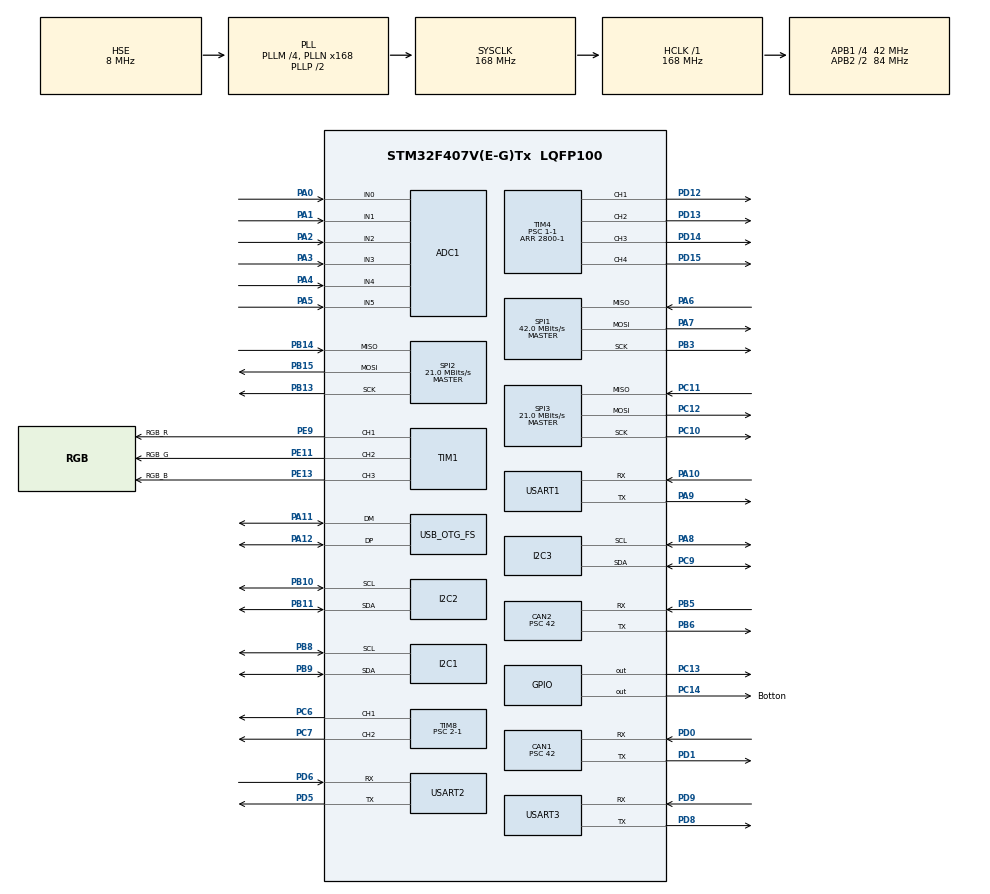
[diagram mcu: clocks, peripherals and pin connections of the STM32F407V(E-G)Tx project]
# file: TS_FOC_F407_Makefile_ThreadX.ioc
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ADC1.Channel-0\#ChannelRegularConversion=ADC_CHANNEL_0
ADC1.Channel-1\#ChannelRegularConversion=ADC_CHANNEL_1
ADC1.Channel-2\#ChannelRegularConversion=ADC_CHANNEL_2
ADC1.Channel-3\#ChannelRegularConversion=ADC_CHANNEL_3
ADC1.ContinuousConvMode=ENABLE
ADC1.DMAContinuousRequests=ENABLE
ADC1.InjNumberOfConversion=0
ADC1.NbrOfConversion=4
ADC1.NbrOfConversionFlag=1
ADC1.Rank-0\#ChannelRegularConversion=1
ADC1.Rank-1\#ChannelRegularConversion=2
ADC1.Rank-2\#ChannelRegularConversion=3
ADC1.Rank-3\#ChannelRegularConversion=4
ADC1.SamplingTime-0\#ChannelRegularConversion=ADC_SAMPLETIME_3CYCLES
ADC1.SamplingTime-1\#ChannelRegularConversion=ADC_SAMPLETIME_3CYCLES
ADC1.SamplingTime-2\#ChannelRegularConversion=ADC_SAMPLETIME_3CYCLES
ADC1.SamplingTime-3\#ChannelRegularConversion=ADC_SAMPLETIME_3CYCLES
ADC1.master=1
CAN1.BS1=CAN_BS1_7TQ
CAN1.BS2=CAN_BS2_2TQ
CAN1.CalculateBaudRate=100000
CAN1.CalculateTimeBit=10000
CAN1.CalculateTimeQuantum=1000.0
CAN1.Prescaler=42
CAN2.BS1=CAN_BS1_7TQ
CAN2.BS2=CAN_BS2_2TQ
CAN2.CalculateBaudRate=100000
CAN2.CalculateTimeBit=10000
CAN2.CalculateTimeQuantum=1000.0
CAN2.Prescaler=42
CAN2.SJW=CAN_SJW_1TQ
Dma.ADC1.1.Direction=DMA_PERIPH_TO_MEMORY
Dma.ADC1.1.FIFOMode=DMA_FIFOMODE_DISABLE
Dma.ADC1.1.Instance=DMA2_Stream4
Dma.ADC1.1.MemDataAlignment=DMA_MDATAALIGN_HALFWORD
Dma.ADC1.1.MemInc=DMA_MINC_ENABLE
Dma.ADC1.1.Mode=DMA_CIRCULAR
Dma.ADC1.1.PeriphDataAlignment=DMA_PDATAALIGN_HALFWORD
Dma.ADC1.1.PeriphInc=DMA_PINC_DISABLE
Dma.ADC1.1.Priority=DMA_PRIORITY_MEDIUM
Dma.I2C1_RX.7.Direction=DMA_PERIPH_TO_MEMORY
Dma.I2C1_RX.7.FIFOMode=DMA_FIFOMODE_DISABLE
Dma.I2C1_RX.7.Instance=DMA1_Stream0
Dma.I2C1_RX.7.MemDataAlignment=DMA_MDATAALIGN_BYTE
Dma.I2C1_RX.7.MemInc=DMA_MINC_ENABLE
Dma.I2C1_RX.7.Mode=DMA_NORMAL
Dma.I2C1_RX.7.PeriphDataAlignment=DMA_PDATAALIGN_BYTE
Dma.I2C1_RX.7.PeriphInc=DMA_PINC_DISABLE
Dma.I2C1_RX.7.Priority=DMA_PRIORITY_LOW
Dma.I2C1_TX.8.Direction=DMA_MEMORY_TO_PERIPH
Dma.I2C1_TX.8.FIFOMode=DMA_FIFOMODE_DISABLE
Dma.I2C1_TX.8.Instance=DMA1_Stream7
Dma.I2C1_TX.8.MemDataAlignment=DMA_MDATAALIGN_BYTE
Dma.I2C1_TX.8.MemInc=DMA_MINC_ENABLE
Dma.I2C1_TX.8.Mode=DMA_NORMAL
Dma.I2C1_TX.8.PeriphDataAlignment=DMA_PDATAALIGN_BYTE
Dma.I2C1_TX.8.PeriphInc=DMA_PINC_DISABLE
Dma.I2C1_TX.8.Priority=DMA_PRIORITY_LOW
Dma.Request0=USART1_RX
Dma.Request1=ADC1
Dma.Request2=USART3_RX
Dma.Request3=USART3_TX
Dma.Request4=USART1_TX
Dma.Request5=USART2_RX
Dma.Request6=USART2_TX
Dma.Request7=I2C1_RX
Dma.Request8=I2C1_TX
Dma.USART1_RX.0.Direction=DMA_PERIPH_TO_MEMORY
Dma.USART1_RX.0.FIFOMode=DMA_FIFOMODE_DISABLE
Dma.USART1_RX.0.Instance=DMA2_Stream2
Dma.USART1_RX.0.MemDataAlignment=DMA_MDATAALIGN_BYTE
Dma.USART1_RX.0.MemInc=DMA_MINC_ENABLE
Dma.USART1_RX.0.Mode=DMA_NORMAL
Dma.USART1_RX.0.PeriphDataAlignment=DMA_PDATAALIGN_BYTE
Dma.USART1_RX.0.PeriphInc=DMA_PINC_DISABLE
Dma.USART1_RX.0.Priority=DMA_PRIORITY_LOW
Dma.USART1_TX.4.Direction=DMA_MEMORY_TO_PERIPH
Dma.USART1_TX.4.FIFOMode=DMA_FIFOMODE_DISABLE
Dma.USART1_TX.4.Instance=DMA2_Stream7
Dma.USART1_TX.4.MemDataAlignment=DMA_MDATAALIGN_BYTE
Dma.USART1_TX.4.MemInc=DMA_MINC_ENABLE
Dma.USART1_TX.4.Mode=DMA_NORMAL
Dma.USART1_TX.4.PeriphDataAlignment=DMA_PDATAALIGN_BYTE
Dma.USART1_TX.4.PeriphInc=DMA_PINC_DISABLE
Dma.USART1_TX.4.Priority=DMA_PRIORITY_LOW
Dma.USART2_RX.5.Direction=DMA_PERIPH_TO_MEMORY
Dma.USART2_RX.5.FIFOMode=DMA_FIFOMODE_DISABLE
Dma.USART2_RX.5.Instance=DMA1_Stream5
Dma.USART2_RX.5.MemDataAlignment=DMA_MDATAALIGN_BYTE
Dma.USART2_RX.5.MemInc=DMA_MINC_ENABLE
Dma.USART2_RX.5.Mode=DMA_NORMAL
Dma.USART2_RX.5.PeriphDataAlignment=DMA_PDATAALIGN_BYTE
Dma.USART2_RX.5.PeriphInc=DMA_PINC_DISABLE
Dma.USART2_RX.5.Priority=DMA_PRIORITY_LOW
Dma.USART2_TX.6.Direction=DMA_MEMORY_TO_PERIPH
Dma.USART2_TX.6.FIFOMode=DMA_FIFOMODE_DISABLE
Dma.USART2_TX.6.Instance=DMA1_Stream6
Dma.USART2_TX.6.MemDataAlignment=DMA_MDATAALIGN_BYTE
Dma.USART2_TX.6.MemInc=DMA_MINC_ENABLE
Dma.USART2_TX.6.Mode=DMA_NORMAL
Dma.USART2_TX.6.PeriphDataAlignment=DMA_PDATAALIGN_BYTE
Dma.USART2_TX.6.PeriphInc=DMA_PINC_DISABLE
Dma.USART2_TX.6.Priority=DMA_PRIORITY_LOW
Dma.USART3_RX.2.Direction=DMA_PERIPH_TO_MEMORY
Dma.USART3_RX.2.FIFOMode=DMA_FIFOMODE_DISABLE
Dma.USART3_RX.2.Instance=DMA1_Stream1
Dma.USART3_RX.2.MemDataAlignment=DMA_MDATAALIGN_BYTE
Dma.USART3_RX.2.MemInc=DMA_MINC_ENABLE
Dma.USART3_RX.2.Mode=DMA_NORMAL
Dma.USART3_RX.2.PeriphDataAlignment=DMA_PDATAALIGN_BYTE
Dma.USART3_RX.2.PeriphInc=DMA_PINC_DISABLE
Dma.USART3_RX.2.Priority=DMA_PRIORITY_LOW
Dma.USART3_TX.3.Direction=DMA_MEMORY_TO_PERIPH
Dma.USART3_TX.3.FIFOMode=DMA_FIFOMODE_DISABLE
Dma.USART3_TX.3.Instance=DMA1_Stream4
Dma.USART3_TX.3.MemDataAlignment=DMA_MDATAALIGN_BYTE
Dma.USART3_TX.3.MemInc=DMA_MINC_ENABLE
Dma.USART3_TX.3.Mode=DMA_NORMAL
Dma.USART3_TX.3.PeriphDataAlignment=DMA_PDATAALIGN_BYTE
Dma.USART3_TX.3.PeriphInc=DMA_PINC_DISABLE
Dma.USART3_TX.3.Priority=DMA_PRIORITY_LOW
I2C1.I2C_Mode=I2C_Fast
I2C2.I2C_Mode=I2C_Fast
Mcu.Family=STM32F4
Mcu.Name=STM32F407V(E-G)Tx
Mcu.Package=LQFP100
NVIC.ADC_IRQn=true\:0\:0\:false\:false\:true\:false\:true\:true\:true
NVIC.CAN1_RX0_IRQn=true\:0\:0\:false\:false\:true\:false\:true\:true\:true
NVIC.CAN1_RX1_IRQn=true\:0\:0\:false\:false\:true\:false\:true\:true\:true
NVIC.CAN1_SCE_IRQn=true\:0\:0\:false\:false\:true\:false\:true\:true\:true
NVIC.CAN1_TX_IRQn=true\:0\:0\:false\:false\:true\:false\:true\:true\:true
NVIC.CAN2_RX0_IRQn=true\:0\:0\:false\:false\:true\:false\:true\:true\:true
NVIC.CAN2_RX1_IRQn=true\:0\:0\:false\:false\:true\:false\:true\:true\:true
NVIC.CAN2_SCE_IRQn=true\:0\:0\:false\:false\:true\:false\:true\:true\:true
NVIC.CAN2_TX_IRQn=true\:0\:0\:false\:false\:true\:false\:true\:true\:true
NVIC.DMA1_Stream0_IRQn=true\:0\:0\:false\:false\:true\:true\:false\:true\:true
NVIC.DMA1_Stream1_IRQn=true\:0\:0\:false\:false\:true\:true\:false\:true\:true
NVIC.DMA1_Stream4_IRQn=true\:0\:0\:false\:false\:true\:false\:false\:true\:true
NVIC.DMA1_Stream5_IRQn=true\:0\:0\:false\:false\:true\:true\:false\:true\:true
NVIC.DMA1_Stream6_IRQn=true\:0\:0\:false\:false\:true\:true\:false\:true\:true
NVIC.DMA1_Stream7_IRQn=true\:0\:0\:false\:false\:true\:true\:false\:true\:true
NVIC.DMA2_Stream2_IRQn=true\:0\:0\:false\:false\:true\:false\:false\:true\:true
NVIC.DMA2_Stream4_IRQn=true\:0\:0\:false\:false\:true\:false\:false\:true\:true
NVIC.DMA2_Stream7_IRQn=true\:0\:0\:false\:false\:true\:true\:false\:true\:true
NVIC.I2C1_ER_IRQn=true\:0\:0\:false\:false\:true\:false\:true\:true\:true
NVIC.I2C1_EV_IRQn=true\:0\:0\:false\:false\:true\:false\:true\:true\:true
NVIC.I2C2_ER_IRQn=true\:0\:0\:false\:false\:true\:false\:true\:true\:true
NVIC.I2C2_EV_IRQn=true\:0\:0\:false\:false\:true\:false\:true\:true\:true
NVIC.OTG_FS_IRQn=true\:0\:0\:false\:false\:true\:false\:true\:true\:true
NVIC.PriorityGroup=NVIC_PRIORITYGROUP_4
NVIC.SPI2_IRQn=true\:0\:0\:false\:false\:true\:false\:true\:true\:true
NVIC.TIM4_IRQn=true\:0\:0\:false\:false\:true\:false\:true\:true\:true
NVIC.TIM8_TRG_COM_TIM14_IRQn=true\:15\:0\:false\:false\:true\:false\:false\:true\:true
NVIC.TIM8_UP_TIM13_IRQn=true\:15\:0\:false\:false\:true\:false\:false\:true\:true
NVIC.TimeBase=TIM8_UP_TIM13_IRQn
NVIC.TimeBaseIP=TIM13
NVIC.USART1_IRQn=true\:0\:0\:false\:false\:true\:false\:true\:true\:true
NVIC.USART2_IRQn=true\:0\:0\:false\:false\:true\:false\:true\:true\:true
NVIC.USART3_IRQn=true\:0\:0\:false\:false\:true\:false\:true\:true\:true
PA0-WKUP.Signal=ADCx_IN0
PA1.Signal=ADCx_IN1
PA10.Mode=Asynchronous
PA10.Signal=USART1_RX
PA11.Mode=Device_Only
PA11.Signal=USB_OTG_FS_DM
PA12.Mode=Device_Only
PA12.Signal=USB_OTG_FS_DP
PA13.Mode=Serial_Wire
PA13.Signal=SYS_JTMS-SWDIO
PA14.Mode=Serial_Wire
PA14.Signal=SYS_JTCK-SWCLK
PA2.Signal=ADCx_IN2
PA3.Signal=ADCx_IN3
PA4.Signal=ADCx_IN4
PA5.Signal=ADCx_IN5
PA6.Mode=Full_Duplex_Master
PA6.Signal=SPI1_MISO
PA7.Mode=Full_Duplex_Master
PA7.Signal=SPI1_MOSI
PA8.Mode=I2C
PA8.Signal=I2C3_SCL
PA9.Mode=Asynchronous
PA9.Signal=USART1_TX
PB10.GPIO_Pu=GPIO_PULLUP
PB10.Mode=I2C
PB10.Signal=I2C2_SCL
PB11.GPIO_Pu=GPIO_PULLUP
PB11.Mode=I2C
PB11.Signal=I2C2_SDA
PB13.Mode=Full_Duplex_Master
PB13.Signal=SPI2_SCK
PB14.Mode=Full_Duplex_Master
PB14.Signal=SPI2_MISO
PB15.Mode=Full_Duplex_Master
PB15.Signal=SPI2_MOSI
PB3.Mode=Full_Duplex_Master
PB3.Signal=SPI1_SCK
PB5.Mode=CAN_Activate
PB5.Signal=CAN2_RX
PB6.Mode=CAN_Activate
PB6.Signal=CAN2_TX
PB8.GPIO_Pu=GPIO_PULLUP
PB8.Mode=I2C
PB8.Signal=I2C1_SCL
PB9.GPIO_Pu=GPIO_PULLUP
PB9.Mode=I2C
PB9.Signal=I2C1_SDA
PC10.Mode=Full_Duplex_Master
PC10.Signal=SPI3_SCK
PC11.Mode=Full_Duplex_Master
PC11.Signal=SPI3_MISO
PC12.Mode=Full_Duplex_Master
PC12.Signal=SPI3_MOSI
PC13-ANTI_TAMP.Signal=GPIO_Output
PC14-OSC32_IN.GPIO_Label=Botton
PC14-OSC32_IN.PinState=GPIO_PIN_SET
PC14-OSC32_IN.Signal=GPIO_Output
PC6.Signal=S_TIM8_CH1
PC7.Signal=S_TIM8_CH2
PC9.Mode=I2C
PC9.Signal=I2C3_SDA
PD0.Mode=CAN_Activate
PD0.Signal=CAN1_RX
PD1.Mode=CAN_Activate
PD1.Signal=CAN1_TX
PD12.Signal=S_TIM4_CH1
PD13.Signal=S_TIM4_CH2
PD14.Signal=S_TIM4_CH3
PD15.Signal=S_TIM4_CH4
PD5.Mode=Asynchronous
PD5.Signal=USART2_TX
PD6.Mode=Asynchronous
PD6.Signal=USART2_RX
PD8.Mode=Asynchronous
PD8.Signal=USART3_TX
PD9.Mode=Asynchronous
PD9.Signal=USART3_RX
PE11.GPIO_Label=RGB_G
PE11.Signal=S_TIM1_CH2
PE13.GPIO_Label=RGB_B
PE13.Signal=S_TIM1_CH3
PE9.GPIO_Label=RGB_R
PE9.Signal=S_TIM1_CH1
PH0-OSC_IN.Mode=HSE-External-Oscillator
PH0-OSC_IN.Signal=RCC_OSC_IN
PH1-OSC_OUT.Mode=HSE-External-Oscillator
PH1-OSC_OUT.Signal=RCC_OSC_OUT
ProjectManager.HeapSize=0x4000
ProjectManager.StackSize=0x8000
ProjectManager.TargetToolchain=Makefile
RCC.48MHZClocksFreq_Value=48000000
RCC.AHBFreq_Value=168000000
RCC.APB1CLKDivider=RCC_HCLK_DIV4
RCC.APB1Freq_Value=42000000
RCC.APB1TimFreq_Value=84000000
RCC.APB2CLKDivider=RCC_HCLK_DIV2
RCC.APB2Freq_Value=84000000
RCC.APB2TimFreq_Value=168000000
RCC.CortexFreq_Value=168000000
RCC.HCLKFreq_Value=168000000
RCC.HSE_VALUE=8000000
RCC.HSI_VALUE=16000000
RCC.LSE_VALUE=32768
RCC.PLLM=4
RCC.PLLN=168
RCC.PLLQ=7
RCC.SYSCLKFreq_VALUE=168000000
RCC.SYSCLKSource=RCC_SYSCLKSOURCE_PLLCLK
RCC.VCOOutputFreq_Value=336000000
SH.ADCx_IN0.0=ADC1_IN0,IN0
SH.ADCx_IN1.0=ADC1_IN1,IN1
SH.ADCx_IN2.0=ADC1_IN2,IN2
SH.ADCx_IN3.0=ADC1_IN3,IN3
SH.ADCx_IN4.0=ADC1_IN4,IN4
SH.ADCx_IN5.0=ADC1_IN5,IN5
SH.S_TIM1_CH1.0=TIM1_CH1,PWM Generation1 CH1
SH.S_TIM1_CH2.0=TIM1_CH2,PWM Generation2 CH2
SH.S_TIM1_CH3.0=TIM1_CH3,PWM Generation3 CH3
SH.S_TIM4_CH1.0=TIM4_CH1,PWM Generation1 CH1
SH.S_TIM4_CH2.0=TIM4_CH2,PWM Generation2 CH2
SH.S_TIM4_CH3.0=TIM4_CH3,PWM Generation3 CH3
SH.S_TIM4_CH4.0=TIM4_CH4,PWM Generation4 CH4
SH.S_TIM8_CH1.0=TIM8_CH1,PWM Generation1 CH1
SH.S_TIM8_CH2.0=TIM8_CH2,PWM Generation2 CH2
SPI1.CalculateBaudRate=42.0 MBits/s
SPI1.Direction=SPI_DIRECTION_2LINES
SPI1.Mode=SPI_MODE_MASTER
SPI1.VirtualType=VM_MASTER
SPI2.CalculateBaudRate=21.0 MBits/s
SPI2.Direction=SPI_DIRECTION_2LINES
SPI2.Mode=SPI_MODE_MASTER
SPI2.VirtualType=VM_MASTER
SPI3.CalculateBaudRate=21.0 MBits/s
SPI3.Direction=SPI_DIRECTION_2LINES
SPI3.Mode=SPI_MODE_MASTER
SPI3.VirtualType=VM_MASTER
STMicroelectronics.X-CUBE-AZRTOS-F4.1.1.0.AZRTOS_APP_MEM_ALLOCATION_METHOD=1
STMicroelectronics.X-CUBE-AZRTOS-F4.1.1.0.TX_APP_MEM_POOL_SIZE=20480
STMicroelectronics.X-CUBE-AZRTOS-F4.1.1.0.TX_TIMER_TICKS_PER_SECOND=1000
STMicroelectronics.X-CUBE-AZRTOS-F4.1.1.0.ThreadXCcRTOSJjThreadXJjCore=true
STMicroelectronics.X-CUBE-AZRTOS-F4.1.1.0.USBXCcUSBJjUSBXJjCoreSystem=true
STMicroelectronics.X-CUBE-AZRTOS-F4.1.1.0.USBXCcUSBJjUSBXJjUXOoDeviceOoClassOoCDCOoACM=true
STMicroelectronics.X-CUBE-AZRTOS-F4.1.1.0.USBXCcUSBJjUSBXJjUXOoDeviceOoClassOoDFU=true
STMicroelectronics.X-CUBE-AZRTOS-F4.1.1.0.USBXCcUSBJjUSBXJjUXOoDeviceOoControllers=true
STMicroelectronics.X-CUBE-AZRTOS-F4.1.1.0.USBXCcUSBJjUSBXJjUXOoDeviceOoCoreStack=true
STMicroelectronics.X-CUBE-AZRTOS-F4.1.1.0.USBXCcUSBJjUSBXJjUXOoHostOoCoreStack=true
STMicroelectronics.X-CUBE-AZRTOS-F4.1.1.0.UX_DEVICE_CLASS_DFU_ERROR_GET_ENABLE=1
STMicroelectronics.X-CUBE-AZRTOS-F4.1.1.0.UX_DEVICE_CLASS_DFU_STATUS_MODE=0
STMicroelectronics.X-CUBE-AZRTOS-F4.1.1.0.UX_DEVICE_CLASS_DFU_STATUS_POLLTIMEOUT=100
STMicroelectronics.X-CUBE-AZRTOS-F4.1.1.0.UX_DEVICE_SIDE_ONLY=0
STMicroelectronics.X-CUBE-AZRTOS-F4.1.1.0.UX_ENFORCE_SAFE_ALIGNMENT=1
STMicroelectronics.X-CUBE-AZRTOS-F4.1.1.0.UX_HOST_SIDE_ONLY=0
STMicroelectronics.X-CUBE-AZRTOS-F4.1.1.0.UX_MAX_HCD=2
STMicroelectronics.X-CUBE-AZRTOS-F4.1.1.0.UX_OTG_SUPPORT=0
STMicroelectronics.X-CUBE-AZRTOS-F4.1.1.0.UX_THREAD_PRIORITY_HCD=2
STMicroelectronics.X-CUBE-AZRTOS-F4.1.1.0_IsAnAzureRtosMw=true
TIM1.Channel-PWM\ Generation1\ CH1=TIM_CHANNEL_1
TIM1.Channel-PWM\ Generation2\ CH2=TIM_CHANNEL_2
TIM1.Channel-PWM\ Generation3\ CH3=TIM_CHANNEL_3
TIM4.AutoReloadPreload=TIM_AUTORELOAD_PRELOAD_ENABLE
TIM4.Channel-PWM\ Generation1\ CH1=TIM_CHANNEL_1
TIM4.Channel-PWM\ Generation2\ CH2=TIM_CHANNEL_2
TIM4.Channel-PWM\ Generation3\ CH3=TIM_CHANNEL_3
TIM4.Channel-PWM\ Generation4\ CH4=TIM_CHANNEL_4
TIM4.Period=2800-1
TIM4.Prescaler=1-1
TIM8.AutoReloadPreload=TIM_AUTORELOAD_PRELOAD_ENABLE
TIM8.Channel-PWM\ Generation1\ CH1=TIM_CHANNEL_1
TIM8.Channel-PWM\ Generation2\ CH2=TIM_CHANNEL_2
TIM8.Period=2800-1
TIM8.Prescaler=2-1
USART1.VirtualMode=VM_ASYNC
USART2.VirtualMode=VM_ASYNC
USART3.VirtualMode=VM_ASYNC
USB_OTG_FS.VirtualMode=Device_Only
VP_ADC1_TempSens_Input.Mode=IN-TempSens
VP_ADC1_Vbat_Input.Mode=IN-Vbat
VP_ADC1_Vref_Input.Mode=IN-Vrefint
VP_CRC_VS_CRC.Mode=CRC_Activate
VP_RNG_VS_RNG.Mode=RNG_Activate
VP_STMicroelectronics.X-CUBE-AZRTOS-F4_VS_RTOSJjThreadX_6.1.10_1.1.0.Mode=RTOSJjThreadX
VP_STMicroelectronics.X-CUBE-AZRTOS-F4_VS_USBJjUSBX_6.1.10_1.1.0.Mode=USBJjUSBX
VP_SYS_VS_tim13.Mode=TIM13
board=custom

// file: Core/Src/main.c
/* USER CODE BEGIN Header */
/**
  ******************************************************************************
  * @file           : main.c
  * @brief          : Main program body
  ******************************************************************************
  * @attention
  *
  * Copyright (c) 2025 STMicroelectronics.
  * All rights reserved.
  *
  * This software is licensed under terms that can be found in the LICENSE file
  * in the root directory of this software component.
  * If no LICENSE file comes with this software, it is provided AS-IS.
  *
  ******************************************************************************
  */
/* USER CODE END Header */
#include "app_threadx.h"
#include "main.h"
#include "adc.h"
#include "can.h"
#include "crc.h"
#include "dma.h"
#include "i2c.h"
#include "rng.h"
#include "spi.h"
#include "tim.h"
#include "usart.h"
#include "usb_otg.h"
#include "gpio.h"

/* USER CODE BEGIN Includes */
#include <stdio.h>
#include "ts_foc.h"
/* USER CODE END Includes */

/* USER CODE BEGIN PD */
// 通用重定向头文件或代码段
#ifdef __GNUC__
    #define PUTCHAR_PROTOTYPE int __io_putchar(int ch)
#else
    #define PUTCHAR_PROTOTYPE int fputc(int ch, FILE *f)
#endif

PUTCHAR_PROTOTYPE
{
    HAL_UART_Transmit(&huart1, (uint8_t*)&ch, 1, HAL_MAX_DELAY);
    return ch;
}

// GCC 特定部分
#ifdef __GNUC__
int _write(int fd, char *ptr, int len)
{
    HAL_UART_Transmit(&huart1, (uint8_t*)ptr, len, HAL_MAX_DELAY);
    return len;
}
#endif

/* USER CODE END PD */

/* USER CODE BEGIN PM */
Motor * motor1;

/* USER CODE END PM */

void SystemClock_Config(void);

int main(void)
{

  /* MCU Configuration--------------------------------------------------------*/

  /* Reset of all peripherals, Initializes the Flash interface and the Systick. */
  HAL_Init();

  /* Configure the system clock */
  SystemClock_Config();

  /* Initialize all configured peripherals */
  MX_GPIO_Init();
  MX_DMA_Init();
  MX_ADC1_Init();
  MX_CAN1_Init();
  MX_CAN2_Init();
  MX_I2C1_Init();
  MX_I2C2_Init();
  MX_SPI1_Init();
  MX_SPI2_Init();
  MX_TIM4_Init();
  MX_TIM8_Init();
  MX_USART1_UART_Init();
  MX_USB_OTG_FS_PCD_Init();
  MX_CRC_Init();
  MX_RNG_Init();
  MX_USART2_UART_Init();
  MX_USART3_UART_Init();
  MX_TIM1_Init();
  MX_I2C3_Init();
  MX_SPI3_Init();
  /* USER CODE BEGIN 2 */

  // 开启ADC DMA传输
  HAL_ADC_Start_DMA(&hadc1,(uint32_t *)adc_buffer, 4); // 启动 ADC DMA 传输
  // 开启pwm输出
  HAL_TIM_PWM_Start(&htim4, TIM_CHANNEL_4);
  HAL_TIM_PWM_Start(&htim8, TIM_CHANNEL_1);
  HAL_TIM_PWM_Start(&htim8, TIM_CHANNEL_2);
  HAL_Delay(1000);
  // 实例化电机
  motor1 = (Motor *)malloc(sizeof(Motor) * 1);
  // 电机参数配置
  Thread_Motor_Control_parama1.Motor1_handle = (ULONG)motor1;
  motor1->Motor_ID = 0;
  motor1->PP = 7;
  motor1->DIR = 1;
  motor1->voltage_power_supply = 12.0;
  motor1->zero_electric_angle = 0;
  // 角度传感器初始化
  motor1->As5600_Sensor = (As5600_Sensor_Typedef *)malloc(sizeof(As5600_Sensor_Typedef) * 1);
  motor1->As5600_Sensor->Rotations = 0;
  motor1->As5600_Sensor->i2c_handle = &hi2c1;
  Read_AS5600_Angle(motor1->As5600_Sensor);
  // 电流传感器初始化
  motor1->Inlinecurrent = (Inlinecurrent_Typedef *)malloc(sizeof(Inlinecurrent_Typedef) * 1);
  motor1->Inlinecurrent->A = 2;
  motor1->Inlinecurrent->B = 3;
  motor1->Inlinecurrent->I_a = 0;
  motor1->Inlinecurrent->I_b = 0;
  CurrSense_Init(motor1->Inlinecurrent);
  motor1->Ualpha = motor1->Ubeta = motor1->Ua = motor1->Ub = motor1->Uc = 0;
  // pid参数配置
  motor1->Pid_Ang = (Pid_Typedef *)malloc(sizeof(Pid_Typedef) * 1);
  Pid_Ang_Init(motor1->Pid_Ang, 0.5, 0, 0, 100000, 32);
  motor1->Pid_Vel = (Pid_Typedef *)malloc(sizeof(Pid_Typedef) * 1);
  Pid_Vel_Init(motor1->Pid_Vel,0.001,0.01,0,10000,motor1->voltage_power_supply/2);
  motor1->Pid_Curr = (Pid_Typedef *)malloc(sizeof(Pid_Typedef) * 1);
  Pid_Curr_Init(motor1->Pid_Curr, 2, 200, 0, 100000, 100000);
  // lowpass滤波器配置
  motor1->Lowpass_Filter_Vel = (Lowpass_Filter_Typedef *)malloc(sizeof(Lowpass_Filter_Typedef) * 1);
  motor1->Lowpass_Filter_Curr = (Lowpass_Filter_Typedef *)malloc(sizeof(Lowpass_Filter_Typedef) * 1);
  Lowpass_Filter_Init(motor1->Lowpass_Filter_Vel, 0.01);
  Lowpass_Filter_Init(motor1->Lowpass_Filter_Curr, 0.01);
  // pwm通道配置
  motor1->Motor_Set_Compare1 = Motor1_Set_Compare1;
  motor1->Motor_Set_Compare2 = Motor1_Set_Compare2;
  motor1->Motor_Set_Compare3 = Motor1_Set_Compare3;
  // 更新一次电机角度
  Read_AS5600_Angle(motor1->As5600_Sensor);

  /* USER CODE END 2 */

  MX_ThreadX_Init();

  /* We should never get here as control is now taken by the scheduler */

  /* Infinite loop */
  while (1)
  {

  }
}

void SystemClock_Config(void)
{
  RCC_OscInitTypeDef RCC_OscInitStruct = {0};
  RCC_ClkInitTypeDef RCC_ClkInitStruct = {0};

  /** Configure the main internal regulator output voltage
  */
  __HAL_RCC_PWR_CLK_ENABLE();
  __HAL_PWR_VOLTAGESCALING_CONFIG(PWR_REGULATOR_VOLTAGE_SCALE1);

  /** Initializes the RCC Oscillators according to the specified parameters
  * in the RCC_OscInitTypeDef structure.
  */
  RCC_OscInitStruct.OscillatorType = RCC_OSCILLATORTYPE_HSE;
  RCC_OscInitStruct.HSEState = RCC_HSE_ON;
  RCC_OscInitStruct.PLL.PLLState = RCC_PLL_ON;
  RCC_OscInitStruct.PLL.PLLSource = RCC_PLLSOURCE_HSE;
  RCC_OscInitStruct.PLL.PLLM = 4;
  RCC_OscInitStruct.PLL.PLLN = 168;
  RCC_OscInitStruct.PLL.PLLP = RCC_PLLP_DIV2;
  RCC_OscInitStruct.PLL.PLLQ = 7;
  if (HAL_RCC_OscConfig(&RCC_OscInitStruct) != HAL_OK)
  {
    Error_Handler();
  }

  /** Initializes the CPU, AHB and APB buses clocks
  */
  RCC_ClkInitStruct.ClockType = RCC_CLOCKTYPE_HCLK|RCC_CLOCKTYPE_SYSCLK
                              |RCC_CLOCKTYPE_PCLK1|RCC_CLOCKTYPE_PCLK2;
  RCC_ClkInitStruct.SYSCLKSource = RCC_SYSCLKSOURCE_PLLCLK;
  RCC_ClkInitStruct.AHBCLKDivider = RCC_SYSCLK_DIV1;
  RCC_ClkInitStruct.APB1CLKDivider = RCC_HCLK_DIV4;
  RCC_ClkInitStruct.APB2CLKDivider = RCC_HCLK_DIV2;

  if (HAL_RCC_ClockConfig(&RCC_ClkInitStruct, FLASH_LATENCY_5) != HAL_OK)
  {
    Error_Handler();
  }
}

void HAL_TIM_PeriodElapsedCallback(TIM_HandleTypeDef *htim)
{
  if (htim->Instance == TIM13)
  {
    HAL_IncTick();
  }
}

void Error_Handler(void)
{
  __disable_irq();
  while (1)
  {
  }
}
